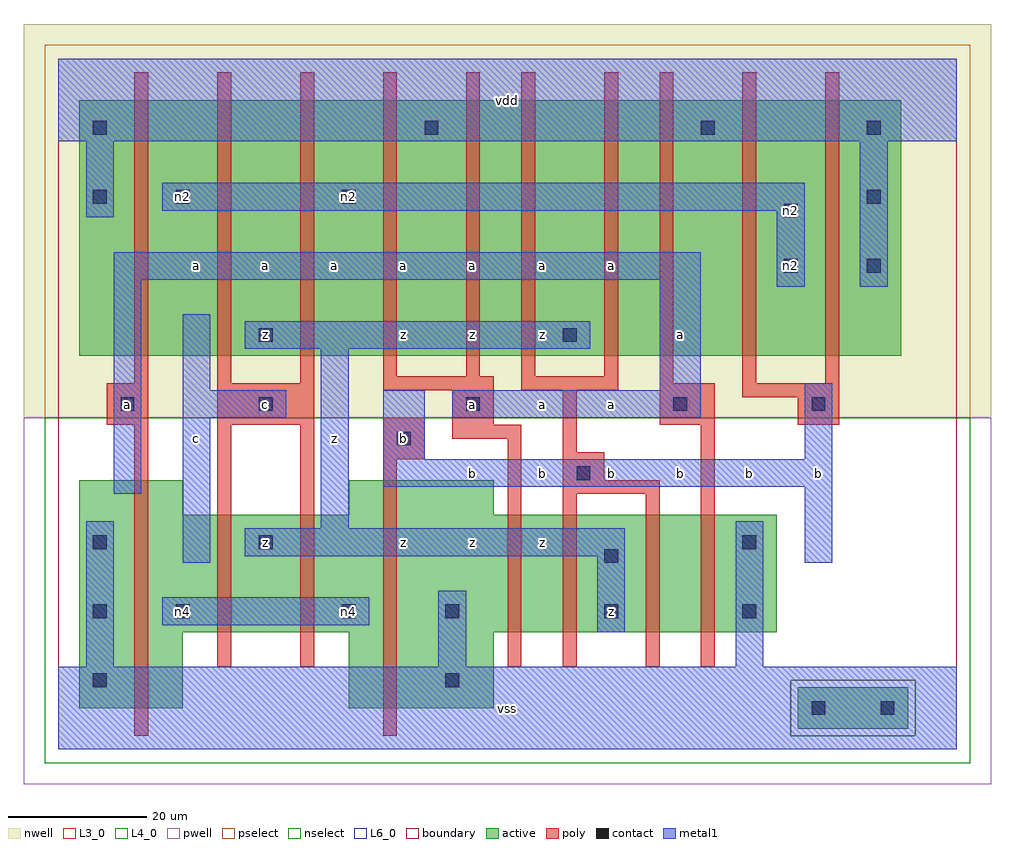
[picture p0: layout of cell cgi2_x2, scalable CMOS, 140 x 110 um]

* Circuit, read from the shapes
.subckt cgi2_x2 a b c n2 n4 vdd vss z
M1 n4 a vss vss nfet w=33u l=2u
M2 z c n4 vss nfet w=17u l=2u m=2
M3 vss b n4 vss nfet w=33u l=2u
M4 n1 a vss vss nfet w=17u l=2u
M5 z b n1 vss nfet w=17u l=2u
M6 n3 b z vss nfet w=17u l=2u
M7 vss a n3 vss nfet w=17u l=2u
M8 n2 a vdd n5 pfet w=37u l=2u m=2
M9 z c n2 n5 pfet w=37u l=2u m=2
M10 n6 a vdd n5 pfet w=37u l=2u
M11 z b n6 n5 pfet w=37u l=2u
M12 n7 b z n5 pfet w=37u l=2u
M13 vdd a n7 n5 pfet w=37u l=2u
M14 n2 b vdd n5 pfet w=37u l=2u m=2
.ends

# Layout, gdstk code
import gdstk
lib = gdstk.Library(unit=1e-6, precision=1e-09)
def R(c, l, rs):  # rectangles x0, y0, x1, y1
    for r in rs: c.add(gdstk.rectangle(r[:2], r[2:], *l))
def A(c, l, x, y, w, h, nx, ny, dx, dy):  # array of equal rectangles
    R(c, l, [(x+i*dx, y+j*dy, x+i*dx+w, y+j*dy+h) for i in range(nx) for j in range(ny)])
L3_0 = (3, 0)
L4_0 = (4, 0)
L6_0 = (6, 0)
contact = (25, 0)
pwell = (41, 0)
nwell = (42, 0)
active = (43, 0)
pselect = (44, 0)
nselect = (45, 0)
poly = (46, 0)
metal1 = (49, 0)
boundary = (63, 0)

cgi2_x2 = lib.new_cell('cgi2_x2')
R(cgi2_x2, L3_0, [(3,6,18,17), (42,6,63,17), (3,17,104,34), (3,34,18,39), (42,34,63,39)])
R(cgi2_x2, L4_0, [(3,57,122,94)])
R(cgi2_x2, L6_0, [(107,3,123,9)])
A(cgi2_x2, contact, 5, 9, 2, 2, 1, 3, 0, 10)
A(cgi2_x2, contact, 29, 49, 2, 2, 3, 1, 30, 0)
A(cgi2_x2, contact, 117, 69, 2, 2, 1, 3, 0, 10)
R(cgi2_x2, contact, [(109,5,111,7), (119,5,121,7), (56,9,58,11), (17,19,19,21), (41,19,43,21), (56,19,58,21), (79,19,81,21), (99,19,101,21), (79,27,81,29), (29,29,31,31), (99,29,101,31), (75,39,77,41), (49,44,51,46), (9,49,11,51), (109,49,111,51), (29,59,31,61), (73,59,75,61), (105,69,107,71), (105,77,107,79), (5,79,7,81), (17,79,19,81), (41,79,43,81), (5,89,7,91), (53,89,55,91), (93,89,95,91)])
R(cgi2_x2, pwell, [(-5,-5,135,48)])
R(cgi2_x2, nwell, [(-5,48,135,105)])
R(cgi2_x2, active, [(107,3,123,9), (3,6,18,17), (42,6,63,17), (3,17,104,34), (3,34,18,39), (42,34,63,39), (3,57,122,94)])
R(cgi2_x2, pselect, [(106,2,124,10), (-2,48,132,102)])
R(cgi2_x2, nselect, [(-2,-2,132,2), (-2,2,106,10), (124,2,132,10), (-2,10,132,48)])
A(cgi2_x2, poly, 11, 53, 2, 45, 3, 1, 12, 0)
A(cgi2_x2, poly, 87, 53, 2, 45, 3, 1, 12, 0)
R(cgi2_x2, poly, [(11,2,13,47), (47,2,49,42), (23,12,25,47), (35,12,37,47), (65,12,67,45), (73,12,75,37), (85,12,87,37), (93,12,95,47), (73,37,87,39), (73,39,79,43), (47,42,53,48), (73,43,75,52), (57,45,67,47), (7,47,13,53), (23,47,37,53), (57,47,63,52), (87,47,95,53), (107,47,113,51), (99,51,113,53), (47,52,63,54), (67,52,81,54), (47,54,49,98), (59,54,61,98), (67,54,69,98), (79,54,81,98)])
R(cgi2_x2, metal1, [(0,0,130,12), (4,12,8,33), (55,12,59,23), (98,12,102,33), (78,17,82,28), (15,18,45,22), (18,27,22,48), (108,27,112,38), (27,28,82,32), (38,32,42,58), (8,37,12,68), (47,38,112,42), (47,42,53,52), (108,42,112,53), (18,48,33,52), (57,48,93,52), (18,52,22,63), (87,52,93,68), (27,58,77,62), (104,67,108,78), (116,67,120,88), (8,68,93,72), (4,77,8,88), (15,78,108,82), (0,88,130,100)])
R(cgi2_x2, boundary, [(0,0,130,100)])
cgi2_x2.add(gdstk.Label('n4', (18,20), layer=49, texttype=0))
cgi2_x2.add(gdstk.Label('n2', (18,80), layer=49, texttype=0))
cgi2_x2.add(gdstk.Label('n4', (42,20), layer=49, texttype=0))
cgi2_x2.add(gdstk.Label('n2', (42,80), layer=49, texttype=0))
cgi2_x2.add(gdstk.Label('n2', (106,70), layer=49, texttype=0))
cgi2_x2.add(gdstk.Label('n2', (106,78), layer=49, texttype=0))
cgi2_x2.add(gdstk.Label('a', (10,50), layer=49, texttype=0))
cgi2_x2.add(gdstk.Label('c', (20,45), layer=49, texttype=0))
cgi2_x2.add(gdstk.Label('a', (20,70), layer=49, texttype=0))
cgi2_x2.add(gdstk.Label('z', (30,30), layer=49, texttype=0))
cgi2_x2.add(gdstk.Label('z', (40,45), layer=49, texttype=0))
cgi2_x2.add(gdstk.Label('c', (30,50), layer=49, texttype=0))
cgi2_x2.add(gdstk.Label('z', (30,60), layer=49, texttype=0))
cgi2_x2.add(gdstk.Label('a', (30,70), layer=49, texttype=0))
cgi2_x2.add(gdstk.Label('a', (40,70), layer=49, texttype=0))
cgi2_x2.add(gdstk.Label('vss', (65,6), layer=49, texttype=0))
cgi2_x2.add(gdstk.Label('z', (50,30), layer=49, texttype=0))
cgi2_x2.add(gdstk.Label('z', (70,30), layer=49, texttype=0))
cgi2_x2.add(gdstk.Label('z', (60,30), layer=49, texttype=0))
cgi2_x2.add(gdstk.Label('b', (60,40), layer=49, texttype=0))
cgi2_x2.add(gdstk.Label('b', (70,40), layer=49, texttype=0))
cgi2_x2.add(gdstk.Label('b', (50,45), layer=49, texttype=0))
cgi2_x2.add(gdstk.Label('a', (70,50), layer=49, texttype=0))
cgi2_x2.add(gdstk.Label('a', (60,50), layer=49, texttype=0))
cgi2_x2.add(gdstk.Label('z', (70,60), layer=49, texttype=0))
cgi2_x2.add(gdstk.Label('z', (60,60), layer=49, texttype=0))
cgi2_x2.add(gdstk.Label('z', (50,60), layer=49, texttype=0))
cgi2_x2.add(gdstk.Label('a', (50,70), layer=49, texttype=0))
cgi2_x2.add(gdstk.Label('a', (60,70), layer=49, texttype=0))
cgi2_x2.add(gdstk.Label('a', (70,70), layer=49, texttype=0))
cgi2_x2.add(gdstk.Label('vdd', (65,94), layer=49, texttype=0))
cgi2_x2.add(gdstk.Label('z', (80,20), layer=49, texttype=0))
cgi2_x2.add(gdstk.Label('b', (100,40), layer=49, texttype=0))
cgi2_x2.add(gdstk.Label('b', (90,40), layer=49, texttype=0))
cgi2_x2.add(gdstk.Label('b', (80,40), layer=49, texttype=0))
cgi2_x2.add(gdstk.Label('a', (80,50), layer=49, texttype=0))
cgi2_x2.add(gdstk.Label('a', (90,60), layer=49, texttype=0))
cgi2_x2.add(gdstk.Label('a', (80,70), layer=49, texttype=0))
cgi2_x2.add(gdstk.Label('b', (110,40), layer=49, texttype=0))

lib.write_gds('cgi2_x2.gds')
